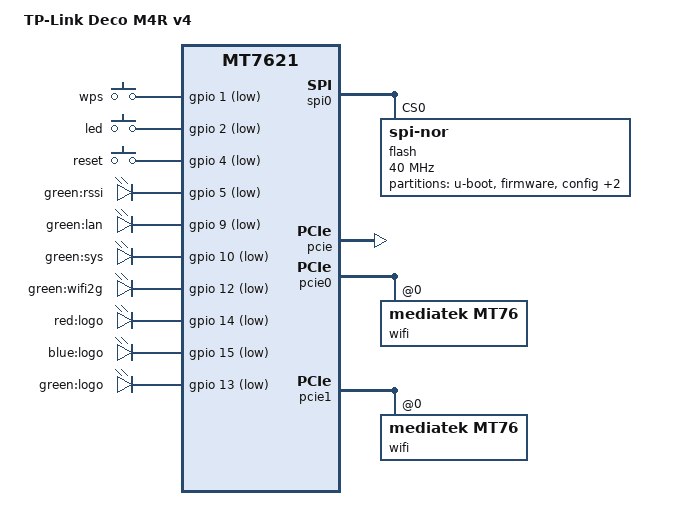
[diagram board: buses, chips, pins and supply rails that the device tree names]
// SPDX-License-Identifier: GPL-2.0-only

#include "mt7621.dtsi"

#include <dt-bindings/gpio/gpio.h>
#include <dt-bindings/input/input.h>

/ {
	compatible = "tplink,deco-m4r-v4", "mediatek,mt7621-soc";
	model = "TP-Link Deco M4R v4";

	aliases {
		label-mac-device = &gmac0;
		led-boot = &led_power;
		led-failsafe = &led_power;
		led-running = &led_power;
		led-upgrade = &led_power;
	};

	chosen {
		bootargs = "console=ttyS0,115200n8";
	};

	keys {
		compatible = "gpio-keys";

		wps {
			label = "wps";
			gpios = <&gpio 1 GPIO_ACTIVE_LOW>;
			debounce-interval = <60>;
			linux,code = <KEY_WPS_BUTTON>;
		};

		led {
			label = "led";
			gpios = <&gpio 2 GPIO_ACTIVE_LOW>;
			debounce_interval = <60>;
			linux,code = <KEY_BRIGHTNESS_TOGGLE>;
		};

		reset {
			label = "reset";
			gpios = <&gpio 4 GPIO_ACTIVE_LOW>;
			debounce-interval = <60>;
			linux,code = <KEY_RESTART>;
		};
	};

	leds {
		compatible = "gpio-leds";

		rssi {
			label = "green:rssi";
			gpios = <&gpio 5 GPIO_ACTIVE_LOW>;
		};

		lan {
			label = "green:lan";
			gpios = <&gpio 9 GPIO_ACTIVE_LOW>;
		};

		sys {
			label = "green:sys";
			gpios = <&gpio 10 GPIO_ACTIVE_LOW>;
		};

		wifi2g {
			label = "green:wifi2g";
			gpios = <&gpio 12 GPIO_ACTIVE_LOW>;
			linux,default-trigger = "phy0tpt";
		};

		logo_red {
			label = "red:logo";
			gpios = <&gpio 14 GPIO_ACTIVE_LOW>;
			/* match usage in v1 and v2 */
			linux,default-trigger = "phy0tpt";
		};

		logo_blue {
			label = "blue:logo";
			gpios = <&gpio 15 GPIO_ACTIVE_LOW>;
			/* match usage in v1 and v2 */
			linux,default-trigger = "phy1tpt";

		};

		led_power: logo_green {
			label = "green:logo";
			gpios = <&gpio 13 GPIO_ACTIVE_LOW>;
			/* match usage in v1 and v2 */
			default_state = "on";
		};
	};
};

&state_default {
	gpio {
		groups = "i2c", "uart2", "uart3", "jtag", "wdt";
		function = "gpio";
	};
};

&spi0 {
	status = "okay";

	flash@0 {
		compatible = "jedec,spi-nor";
		reg = <0>;
		spi-max-frequency = <40000000>;

		partitions {
			compatible = "fixed-partitions";
			#address-cells = <1>;
			#size-cells = <1>;

			partition@0 {
				label = "u-boot";
				reg = <0x0 0x40000>;
				read-only;
			};

			partition@40000 {
				label = "firmware";
				compatible = "denx,uimage";
				reg = <0x40000 0xf60000>;
			};

			config: partition@fa0000 {
				label = "config";
				reg = <0xfa0000 0x010000>;
				read-only;

				compatible = "nvmem-cells";
				#address-cells = <1>;
				#size-cells = <1>;

				macaddr_config_8: macaddr@8 {
					reg = <0x8 0x6>;
				};
			};

			partition@fb0000 {
				label = "tplink";
				reg = <0xfb0000 0x040000>;
				read-only;
			};

			radio: partition@ff0000 {
				label = "radio";
				reg = <0xff0000 0x10000>;
				read-only;
			};
		};
	};
};

&ethernet {
	pinctrl-names = "default";
	pinctrl-0 = <&rgmii1_pins &mdio_pins>;
};

&gmac0 {
	nvmem-cells = <&macaddr_config_8>;
	nvmem-cell-names = "mac-address";
	label = "dsa";
};

&switch0 {
	ports {
		port@0 {
			status = "okay";
			label = "eth0";
		};

		port@1 {
			status = "okay";
			label = "eth1";
		};
	};
};

&pcie {
	status = "okay";
};

&pcie0 {
	wifi@0,0 {
		compatible = "mediatek,mt76";
		reg = <0x0000 0 0 0 0>;
		mediatek,mtd-eeprom = <&radio 0x0>;
		ieee80211-freq-limit = <2400000 2500000>;
	};
};

&pcie1 {
	wifi@0,0 {
		compatible = "mediatek,mt76";
		reg = <0x0000 0 0 0 0>;
		mediatek,mtd-eeprom = <&radio 0x8000>;
		ieee80211-freq-limit = <5000000 6000000>;
	};
};
